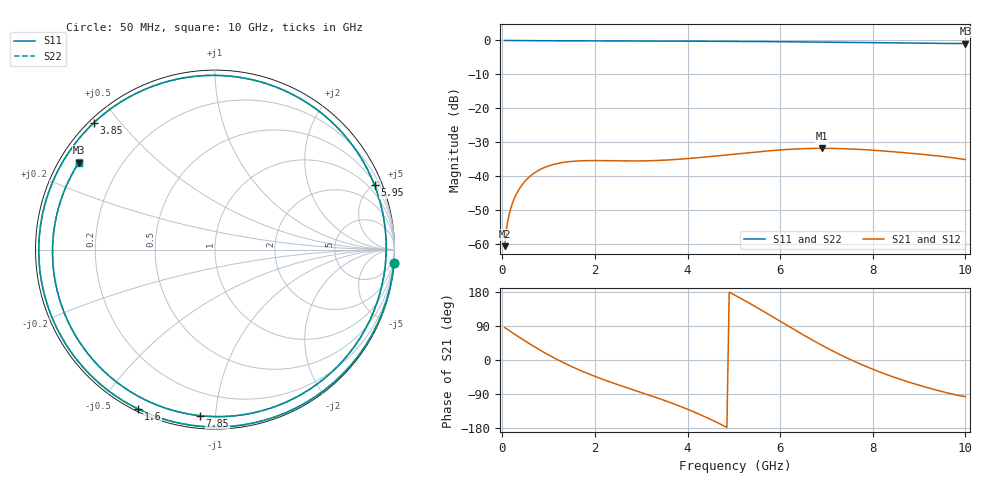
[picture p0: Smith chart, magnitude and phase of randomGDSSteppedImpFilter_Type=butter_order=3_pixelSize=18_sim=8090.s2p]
! freq	dB(S11)	phase(S11)	dB(S12)	phase(S12)
!  dB(S21)	phase(S21)	dB(S22)	phase(S22)
!S-par simulation data
#  GHz  S  DB  R 50
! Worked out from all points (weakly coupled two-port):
!   200 points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, 50 MHz to 10 GHz, reference 50 ohm
!   highest |S21| = -31.84 dB at 6.9 GHz (marker M1); lowest = -60.7 dB at 50 MHz (marker M2)
!   lowest |S11| = -0.9 dB at 10 GHz (marker M3), VSWR 19.01, Z = 2.86 + j14.6 ohm
!   |S11| at or under -10 dB: nowhere
!   |S22| runs from -0.9 to 0.0 dB; largest |S21 - S12| = 0
!   S11 on the Smith chart (normalised r, x): 50 MHz: 0, -28; 1.6 GHz: 0.01, -0.63; 3.85 GHz: 0.01, +0.43; 5.95 GHz: 0.57, +5.08; 7.85 GHz: 0.07, -0.91; 10 GHz: 0.06, +0.29
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0.05  -0.00 -4.2  -60.70 85.8  -60.70 85.8  -0.00 -4.2
0.1  -0.01 -8.3  -54.70 81.6  -54.70 81.6  -0.01 -8.3
0.2  -0.02 -16.4  -48.78 73.4  -48.78 73.4  -0.02 -16.5
0.45  -0.05 -36.5  -42.18 53.5  -42.18 53.5  -0.05 -36.5
1  -0.09 -77.4  -37.02 13.4  -37.02 13.4  -0.09 -77.4
1.6  -0.12 -115.6  -35.58 -23.0  -35.58 -23.0  -0.12 -115.7
1.75  -0.13 -124.3  -35.49 -30.9  -35.49 -30.9  -0.13 -124.3
2.55  -0.15 -165.7  -35.54 -67.4  -35.54 -67.4  -0.15 -165.7
3.4  -0.18 154.7  -35.39 -102.3  -35.39 -102.3  -0.18 154.6
3.85  -0.20 133.8  -35.02 -122.6  -35.02 -122.6  -0.20 133.8
4.5  -0.24 102.4  -34.25 -156.8  -34.25 -156.8  -0.24 102.4
5.05  -0.28 73.8  -33.50 169.3  -33.50 169.3  -0.28 73.7
5.5  -0.32 48.6  -32.89 138.4  -32.89 138.4  -0.32 48.6
5.95  -0.37 22.0  -32.36 106.0  -32.36 106.0  -0.37 21.9
6.35  -0.41 -2.7  -32.02 77.0  -32.02 77.0  -0.41 -2.7
6.7  -0.46 -24.6  -31.86 52.4  -31.86 52.4  -0.46 -24.7
6.9  -0.49 -37.1  -31.84 38.9  -31.84 38.9  -0.49 -37.2
7.4  -0.57 -68.1  -31.96 7.8  -31.96 7.8  -0.57 -68.2
7.85  -0.64 -95.2  -32.25 -16.9  -32.25 -16.9  -0.64 -95.2
8.35  -0.72 -124.0  -32.74 -40.6  -32.74 -40.6  -0.72 -124.0
9.15  -0.84 -167.9  -33.72 -71.9  -33.72 -71.9  -0.84 -167.9
10  -0.91 147.4  -35.15 -96.6  -35.15 -96.6  -0.91 147.3
